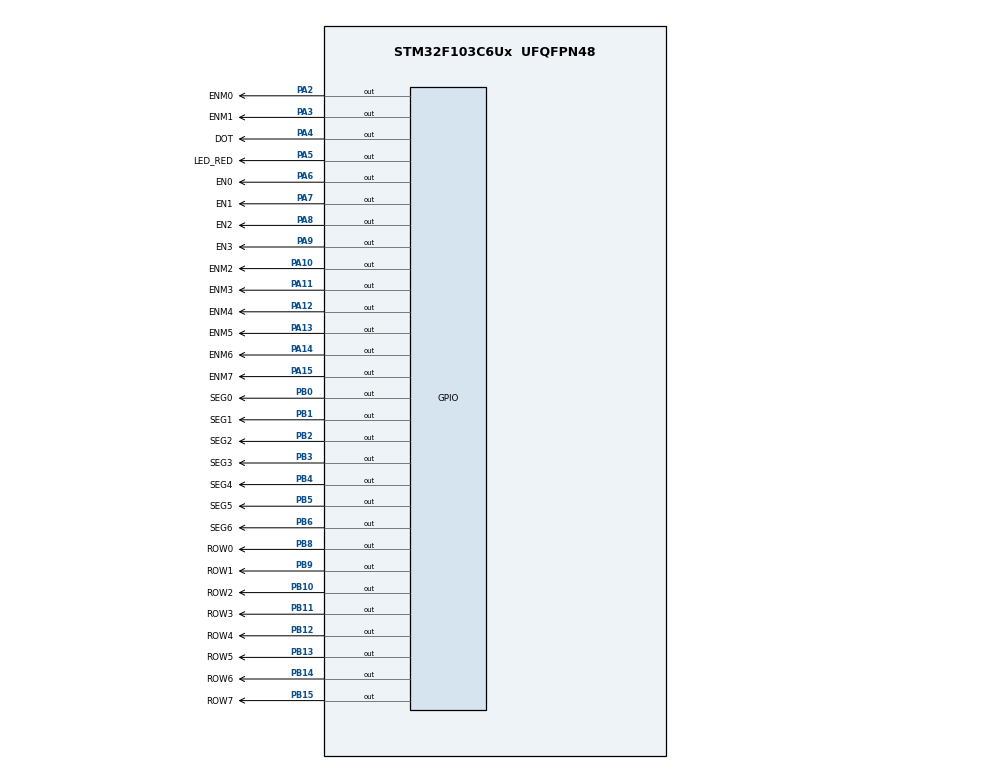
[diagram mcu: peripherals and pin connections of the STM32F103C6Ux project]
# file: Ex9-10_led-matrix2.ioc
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Mcu.Family=STM32F1
Mcu.Name=STM32F103C6Ux
Mcu.Package=UFQFPN48
NVIC.PriorityGroup=NVIC_PRIORITYGROUP_4
NVIC.TIM2_IRQn=true\:0\:0\:false\:false\:true\:true\:true
PA10.GPIO_Label=ENM2
PA10.Signal=GPIO_Output
PA11.GPIO_Label=ENM3
PA11.Signal=GPIO_Output
PA12.GPIO_Label=ENM4
PA12.Signal=GPIO_Output
PA13.GPIO_Label=ENM5
PA13.Signal=GPIO_Output
PA14.GPIO_Label=ENM6
PA14.Signal=GPIO_Output
PA15.GPIO_Label=ENM7
PA15.Signal=GPIO_Output
PA2.GPIO_Label=ENM0
PA2.Signal=GPIO_Output
PA3.GPIO_Label=ENM1
PA3.Signal=GPIO_Output
PA4.GPIO_Label=DOT
PA4.Signal=GPIO_Output
PA5.GPIO_Label=LED_RED
PA5.Signal=GPIO_Output
PA6.GPIO_Label=EN0
PA6.Signal=GPIO_Output
PA7.GPIO_Label=EN1
PA7.Signal=GPIO_Output
PA8.GPIO_Label=EN2
PA8.Signal=GPIO_Output
PA9.GPIO_Label=EN3
PA9.Signal=GPIO_Output
PB0.GPIO_Label=SEG0
PB0.Signal=GPIO_Output
PB1.GPIO_Label=SEG1
PB1.Signal=GPIO_Output
PB10.GPIO_Label=ROW2
PB10.Signal=GPIO_Output
PB11.GPIO_Label=ROW3
PB11.Signal=GPIO_Output
PB12.GPIO_Label=ROW4
PB12.Signal=GPIO_Output
PB13.GPIO_Label=ROW5
PB13.Signal=GPIO_Output
PB14.GPIO_Label=ROW6
PB14.Signal=GPIO_Output
PB15.GPIO_Label=ROW7
PB15.Signal=GPIO_Output
PB2.GPIO_Label=SEG2
PB2.Signal=GPIO_Output
PB3.GPIO_Label=SEG3
PB3.Signal=GPIO_Output
PB4.GPIO_Label=SEG4
PB4.Signal=GPIO_Output
PB5.GPIO_Label=SEG5
PB5.Signal=GPIO_Output
PB6.GPIO_Label=SEG6
PB6.Signal=GPIO_Output
PB8.GPIO_Label=ROW0 
PB8.Signal=GPIO_Output
PB9.GPIO_Label=ROW1
PB9.Signal=GPIO_Output
ProjectManager.HeapSize=0x200
ProjectManager.StackSize=0x400
ProjectManager.TargetToolchain=STM32CubeIDE
RCC.APB1Freq_Value=8000000
RCC.APB2Freq_Value=8000000
TIM2.Period=4
TIM2.Prescaler=7999
VP_SYS_VS_ND.Mode=No_Debug
VP_TIM2_VS_ClockSourceINT.Mode=Internal
board=custom

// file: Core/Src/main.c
/* USER CODE BEGIN Header */
/**
  ******************************************************************************
  * @file           : main.c
  * @brief          : Main program body
  ******************************************************************************
  * @attention
  *
  * <h2><center>&copy; Copyright (c) 2026 STMicroelectronics.
  * All rights reserved.</center></h2>
  *
  * This software component is licensed by ST under BSD 3-Clause license,
  * the "License"; You may not use this file except in compliance with the
  * License. You may obtain a copy of the License at:
  *                        opensource.org/licenses/BSD-3-Clause
  *
  ******************************************************************************
  */
/* USER CODE END Header */
#include "main.h"

/* USER CODE BEGIN Includes */
#include "software_timer.h"
/* USER CODE END Includes */

/* USER CODE BEGIN PD */
#define ENABLE_ANIMATION 1   // 0: bai 9 (chu A dung yen), 1: bai 10 (chu chay)
/* USER CODE END PD */

TIM_HandleTypeDef htim2;

/* USER CODE BEGIN PV */
const int MAX_LED = 4;
int index_led = 0;
int led_buffer[4] = {1, 2, 3, 4}; // buffer hien thi

// Thoi gian khoi tao cua dong ho
int hour = 15;
int minute = 8;
int second = 50;

const int MAX_LED_MATRIX = 8;
int index_led_matrix = 0;

// Chu A ma hoa theo COT: phan tu i la cot i, bit k la ROWk (ROW0 o tren)
const uint8_t CHAR_A[8] = {0x00, 0x7C, 0x0A, 0x09, 0x09, 0x0A, 0x7C, 0x00};
uint8_t matrix_buffer[8] = {0x00, 0x7C, 0x0A, 0x09, 0x09, 0x0A, 0x7C, 0x00};

// Hieu ung chu chay: 8 cot chu A + 8 cot trong
#define ANIM_LEN 16
int anim_offset = 0;
/* USER CODE END PV */

void SystemClock_Config(void);
static void MX_GPIO_Init(void);
static void MX_TIM2_Init(void);

/* USER CODE BEGIN 0 */
void display7SEG(int num) {
    // Mảng mã hóa cho LED 7 đoạn Anode chung (g f e d c b a)
    // 0: BẬT (RESET), 1: TẮT (SET)
    const uint8_t segment_patterns[10] = {
        0x3F, // 0: 0111111 -> sáng a,b,c,d,e,f
        0x06, // 1: 0000110 -> sáng b,c
        0x5B, // 2: 1011011 -> sáng a,b,d,e,g
        0x4F, // 3: 1001111 -> sáng a,b,c,d,g
        0x66, // 4: 1100110 -> sáng b,c,f,g
        0x6D, // 5: 1101101 -> sáng a,c,d,f,g
        0x7D, // 6: 1111101 -> sáng a,c,d,e,f,g
        0x07, // 7: 0000111 -> sáng a,b,c
        0x7F, // 8: 1111111 -> sáng a,b,c,d,e,f,g
        0x6F  // 9: 1101111 -> sáng a,b,c,d,f,g
    };

    if (num < 0 || num > 9) return;

    uint8_t pattern = segment_patterns[num];

    // Ghi trạng thái ra từng chân từ PB0 (a) đến PB6 (g)
    // Bit = 1 thì xuất mức 0 (RESET) để đèn sáng
    HAL_GPIO_WritePin(GPIOB, GPIO_PIN_0, (pattern & (1 << 0)) ? GPIO_PIN_RESET : GPIO_PIN_SET);
    HAL_GPIO_WritePin(GPIOB, GPIO_PIN_1, (pattern & (1 << 1)) ? GPIO_PIN_RESET : GPIO_PIN_SET);
    HAL_GPIO_WritePin(GPIOB, GPIO_PIN_2, (pattern & (1 << 2)) ? GPIO_PIN_RESET : GPIO_PIN_SET);
    HAL_GPIO_WritePin(GPIOB, GPIO_PIN_3, (pattern & (1 << 3)) ? GPIO_PIN_RESET : GPIO_PIN_SET);
    HAL_GPIO_WritePin(GPIOB, GPIO_PIN_4, (pattern & (1 << 4)) ? GPIO_PIN_RESET : GPIO_PIN_SET);
    HAL_GPIO_WritePin(GPIOB, GPIO_PIN_5, (pattern & (1 << 5)) ? GPIO_PIN_RESET : GPIO_PIN_SET);
    HAL_GPIO_WritePin(GPIOB, GPIO_PIN_6, (pattern & (1 << 6)) ? GPIO_PIN_RESET : GPIO_PIN_SET);
}

void update7SEG(int index) {
    switch (index) {
        case 0:
            // Tat cac LED 1, 2, 3 (PNP ngat o muc 1)
            HAL_GPIO_WritePin(EN1_GPIO_Port, EN1_Pin, GPIO_PIN_SET);
            HAL_GPIO_WritePin(EN2_GPIO_Port, EN2_Pin, GPIO_PIN_SET);
            HAL_GPIO_WritePin(EN3_GPIO_Port, EN3_Pin, GPIO_PIN_SET);
            // Xuat du lieu cua led_buffer[0] ra SEG0..SEG6
            display7SEG(led_buffer[0]);
            // Mo LED 0 (PNP dan o muc 0)
            HAL_GPIO_WritePin(EN0_GPIO_Port, EN0_Pin, GPIO_PIN_RESET);
            break;
        case 1:
            HAL_GPIO_WritePin(EN0_GPIO_Port, EN0_Pin, GPIO_PIN_SET);
            HAL_GPIO_WritePin(EN2_GPIO_Port, EN2_Pin, GPIO_PIN_SET);
            HAL_GPIO_WritePin(EN3_GPIO_Port, EN3_Pin, GPIO_PIN_SET);
            display7SEG(led_buffer[1]);
            HAL_GPIO_WritePin(EN1_GPIO_Port, EN1_Pin, GPIO_PIN_RESET);
            break;
        case 2:
            HAL_GPIO_WritePin(EN0_GPIO_Port, EN0_Pin, GPIO_PIN_SET);
            HAL_GPIO_WritePin(EN1_GPIO_Port, EN1_Pin, GPIO_PIN_SET);
            HAL_GPIO_WritePin(EN3_GPIO_Port, EN3_Pin, GPIO_PIN_SET);
            display7SEG(led_buffer[2]);
            HAL_GPIO_WritePin(EN2_GPIO_Port, EN2_Pin, GPIO_PIN_RESET);
            break;
        case 3:
            HAL_GPIO_WritePin(EN0_GPIO_Port, EN0_Pin, GPIO_PIN_SET);
            HAL_GPIO_WritePin(EN1_GPIO_Port, EN1_Pin, GPIO_PIN_SET);
            HAL_GPIO_WritePin(EN2_GPIO_Port, EN2_Pin, GPIO_PIN_SET);
            display7SEG(led_buffer[3]);
            HAL_GPIO_WritePin(EN3_GPIO_Port, EN3_Pin, GPIO_PIN_RESET);
            break;
        default:
            break;
    }
}

void setRowValues(uint8_t data) {
    // ghi vào ODR
    GPIOB->ODR = (GPIOB->ODR & 0x00FF) | ((uint16_t)data << 8);
}

void updateLEDMatrix(int index) {
    // 1. Tắt toàn bộ 8 cột trước (Reset ENM0 -> ENM7)
    // Giả sử các chân ENM được cấu hình cụ thể
    HAL_GPIO_WritePin(GPIOA, ENM0_Pin|ENM1_Pin|ENM2_Pin|ENM3_Pin|
                             ENM4_Pin|ENM5_Pin|ENM6_Pin|ENM7_Pin, GPIO_PIN_RESET);

    // 2. Xuất dữ liệu của cột tương ứng ra các hàng PB8..PB15
    setRowValues(matrix_buffer[index]);

    // 3. Kích mở DUY NHẤT một cột theo index
    switch (index) {
        case 0: HAL_GPIO_WritePin(GPIOA, ENM0_Pin, GPIO_PIN_SET); break;
        case 1: HAL_GPIO_WritePin(GPIOA, ENM1_Pin, GPIO_PIN_SET); break;
        case 2: HAL_GPIO_WritePin(GPIOA, ENM2_Pin, GPIO_PIN_SET); break;
        case 3: HAL_GPIO_WritePin(GPIOA, ENM3_Pin, GPIO_PIN_SET); break;
        case 4: HAL_GPIO_WritePin(GPIOA, ENM4_Pin, GPIO_PIN_SET); break;
        case 5: HAL_GPIO_WritePin(GPIOA, ENM5_Pin, GPIO_PIN_SET); break;
        case 6: HAL_GPIO_WritePin(GPIOA, ENM6_Pin, GPIO_PIN_SET); break;
        case 7: HAL_GPIO_WritePin(GPIOA, ENM7_Pin, GPIO_PIN_SET); break;
        default: break;
    }
}

void updateClockBuffer(void) {
    led_buffer[0] = hour / 10;
    led_buffer[1] = hour % 10;
    led_buffer[2] = minute / 10;
    led_buffer[3] = minute % 10;
}

void updateAnimation(void)
{
    // Dich ca ma tran sang trai 1 cot: cot i lay mau tai vi tri (offset + i)
    for (int i = 0; i < MAX_LED_MATRIX; i++) {
        int idx = (anim_offset + i) % ANIM_LEN;
        // 8 vi tri dau la chu A, 8 vi tri sau la cot trong
        matrix_buffer[i] = (idx < 8) ? CHAR_A[idx] : 0x00;
    }
    anim_offset = (anim_offset + 1) % ANIM_LEN;
}
/* USER CODE END 0 */

int main(void)
{

  /* MCU Configuration--------------------------------------------------------*/

  /* Reset of all peripherals, Initializes the Flash interface and the Systick. */
  HAL_Init();

  /* Configure the system clock */
  SystemClock_Config();

  /* Initialize all configured peripherals */
  MX_GPIO_Init();
  MX_TIM2_Init();
  /* USER CODE BEGIN 2 */
  HAL_TIM_Base_Start_IT(&htim2);

  // Khoa tat ca cac transistor PNP luc khoi dong (SET la tat nguon LED)
  HAL_GPIO_WritePin(GPIOA, EN0_Pin | EN1_Pin | EN2_Pin | EN3_Pin, GPIO_PIN_SET);

  // Tat toan bo 8 cot LED Matrix ban dau
  HAL_GPIO_WritePin(GPIOA, ENM0_Pin | ENM1_Pin | ENM2_Pin | ENM3_Pin |
                           ENM4_Pin | ENM5_Pin | ENM6_Pin | ENM7_Pin, GPIO_PIN_RESET);

  // Nap gio khoi tao vao buffer truoc khi quet
  updateClockBuffer();

  setTimer0(1000);   // Bai 6: LED_RED
  setTimer1(1000);   // Bai 7: dong ho + DOT
  setTimer2(250);    // Bai 8: quet LED 7 doan (1Hz)
  setTimer3(5);      // Bai 9: quet ma tran 5ms/cot (8 cot -> 25Hz)
  setTimer4(200);    // Bai 10: dich chu moi 200ms
  /* USER CODE END 2 */

  /* Infinite loop */
  /* USER CODE BEGIN WHILE */
  while (1)
  {
	  // Bai 6: nhay LED_RED bang software timer 0
	  if (timer0_flag == 1) {
		  HAL_GPIO_TogglePin(LED_RED_GPIO_Port, LED_RED_Pin);
		  setTimer0(2000);
	  }

	  // Bai 7: cap nhat dong ho va nhay DOT bang software timer 1
	  if (timer1_flag == 1) {
		  setTimer1(1000);
		  HAL_GPIO_TogglePin(DOT_GPIO_Port, DOT_Pin);

		  second++;
		  if (second >= 60) {
			  second = 0;
			  minute++;
		  }
		  if (minute >= 60) {
			  minute = 0;
			  hour++;
		  }
		  if (hour >= 24) {
			  hour = 0;
		  }
		  updateClockBuffer();
	  }

	  // Bai 8: quet LED 7 doan bang software timer 2
	  if (timer2_flag == 1) {
		  setTimer2(250);
		  update7SEG(index_led++);
		  if (index_led >= MAX_LED) {
			  index_led = 0;
		  }
	  }

	  // Bai 9: quet ma tran LED bang software timer 3
	  if (timer3_flag == 1) {
		  setTimer3(5);
		  updateLEDMatrix(index_led_matrix++);
		  if (index_led_matrix >= MAX_LED_MATRIX) {
			  index_led_matrix = 0;
		  }
	  }

#if ENABLE_ANIMATION
	  // Bai 10: hieu ung chu chay bang software timer 4
	  if (timer4_flag == 1) {
		  setTimer4(200);
		  updateAnimation();
	  }
#endif
    /* USER CODE END WHILE */

  }
}

void SystemClock_Config(void)
{
  RCC_OscInitTypeDef RCC_OscInitStruct = {0};
  RCC_ClkInitTypeDef RCC_ClkInitStruct = {0};

  /** Initializes the RCC Oscillators according to the specified parameters
  * in the RCC_OscInitTypeDef structure.
  */
  RCC_OscInitStruct.OscillatorType = RCC_OSCILLATORTYPE_HSI;
  RCC_OscInitStruct.HSIState = RCC_HSI_ON;
  RCC_OscInitStruct.HSICalibrationValue = RCC_HSICALIBRATION_DEFAULT;
  RCC_OscInitStruct.PLL.PLLState = RCC_PLL_NONE;
  if (HAL_RCC_OscConfig(&RCC_OscInitStruct) != HAL_OK)
  {
    Error_Handler();
  }
  /** Initializes the CPU, AHB and APB buses clocks
  */
  RCC_ClkInitStruct.ClockType = RCC_CLOCKTYPE_HCLK|RCC_CLOCKTYPE_SYSCLK
                              |RCC_CLOCKTYPE_PCLK1|RCC_CLOCKTYPE_PCLK2;
  RCC_ClkInitStruct.SYSCLKSource = RCC_SYSCLKSOURCE_HSI;
  RCC_ClkInitStruct.AHBCLKDivider = RCC_SYSCLK_DIV1;
  RCC_ClkInitStruct.APB1CLKDivider = RCC_HCLK_DIV1;
  RCC_ClkInitStruct.APB2CLKDivider = RCC_HCLK_DIV1;

  if (HAL_RCC_ClockConfig(&RCC_ClkInitStruct, FLASH_LATENCY_0) != HAL_OK)
  {
    Error_Handler();
  }
}

static void MX_TIM2_Init(void)
{

  TIM_ClockConfigTypeDef sClockSourceConfig = {0};
  TIM_MasterConfigTypeDef sMasterConfig = {0};

  htim2.Instance = TIM2;
  htim2.Init.Prescaler = 7999;
  htim2.Init.CounterMode = TIM_COUNTERMODE_UP;
  htim2.Init.Period = 4;
  htim2.Init.ClockDivision = TIM_CLOCKDIVISION_DIV1;
  htim2.Init.AutoReloadPreload = TIM_AUTORELOAD_PRELOAD_DISABLE;
  if (HAL_TIM_Base_Init(&htim2) != HAL_OK)
  {
    Error_Handler();
  }
  sClockSourceConfig.ClockSource = TIM_CLOCKSOURCE_INTERNAL;
  if (HAL_TIM_ConfigClockSource(&htim2, &sClockSourceConfig) != HAL_OK)
  {
    Error_Handler();
  }
  sMasterConfig.MasterOutputTrigger = TIM_TRGO_RESET;
  sMasterConfig.MasterSlaveMode = TIM_MASTERSLAVEMODE_DISABLE;
  if (HAL_TIMEx_MasterConfigSynchronization(&htim2, &sMasterConfig) != HAL_OK)
  {
    Error_Handler();
  }

}

static void MX_GPIO_Init(void)
{
  GPIO_InitTypeDef GPIO_InitStruct = {0};

  /* GPIO Ports Clock Enable */
  __HAL_RCC_GPIOA_CLK_ENABLE();
  __HAL_RCC_GPIOB_CLK_ENABLE();

  /*Configure GPIO pin Output Level */
  HAL_GPIO_WritePin(GPIOA, ENM0_Pin|ENM1_Pin|DOT_Pin|LED_RED_Pin
                          |EN0_Pin|EN1_Pin|EN2_Pin|EN3_Pin
                          |ENM2_Pin|ENM3_Pin|ENM4_Pin|ENM5_Pin
                          |ENM6_Pin|ENM7_Pin, GPIO_PIN_RESET);

  /*Configure GPIO pin Output Level */
  HAL_GPIO_WritePin(GPIOB, SEG0_Pin|SEG1_Pin|SEG2_Pin|ROW2_Pin
                          |ROW3_Pin|ROW4_Pin|ROW5_Pin|ROW6_Pin
                          |ROW7_Pin|SEG3_Pin|SEG4_Pin|SEG5_Pin
                          |SEG6_Pin|ROW0_Pin|ROW1_Pin, GPIO_PIN_RESET);

  /*Configure GPIO pins : ENM0_Pin ENM1_Pin DOT_Pin LED_RED_Pin
                           EN0_Pin EN1_Pin EN2_Pin EN3_Pin
                           ENM2_Pin ENM3_Pin ENM4_Pin ENM5_Pin
                           ENM6_Pin ENM7_Pin */
  GPIO_InitStruct.Pin = ENM0_Pin|ENM1_Pin|DOT_Pin|LED_RED_Pin
                          |EN0_Pin|EN1_Pin|EN2_Pin|EN3_Pin
                          |ENM2_Pin|ENM3_Pin|ENM4_Pin|ENM5_Pin
                          |ENM6_Pin|ENM7_Pin;
  GPIO_InitStruct.Mode = GPIO_MODE_OUTPUT_PP;
  GPIO_InitStruct.Pull = GPIO_NOPULL;
  GPIO_InitStruct.Speed = GPIO_SPEED_FREQ_LOW;
  HAL_GPIO_Init(GPIOA, &GPIO_InitStruct);

  /*Configure GPIO pins : SEG0_Pin SEG1_Pin SEG2_Pin ROW2_Pin
                           ROW3_Pin ROW4_Pin ROW5_Pin ROW6_Pin
                           ROW7_Pin SEG3_Pin SEG4_Pin SEG5_Pin
                           SEG6_Pin ROW0_Pin ROW1_Pin */
  GPIO_InitStruct.Pin = SEG0_Pin|SEG1_Pin|SEG2_Pin|ROW2_Pin
                          |ROW3_Pin|ROW4_Pin|ROW5_Pin|ROW6_Pin
                          |ROW7_Pin|SEG3_Pin|SEG4_Pin|SEG5_Pin
                          |SEG6_Pin|ROW0_Pin|ROW1_Pin;
  GPIO_InitStruct.Mode = GPIO_MODE_OUTPUT_PP;
  GPIO_InitStruct.Pull = GPIO_NOPULL;
  GPIO_InitStruct.Speed = GPIO_SPEED_FREQ_LOW;
  HAL_GPIO_Init(GPIOB, &GPIO_InitStruct);

}

/* USER CODE BEGIN 4 */
void HAL_TIM_PeriodElapsedCallback(TIM_HandleTypeDef *htim) {
    if (htim->Instance == TIM2) {
        timer_run();
    }
}
/* USER CODE END 4 */

void Error_Handler(void)
{
  __disable_irq();
  while (1)
  {
  }
}

/************************ (C) COPYRIGHT STMicroelectronics *****END OF FILE****/
